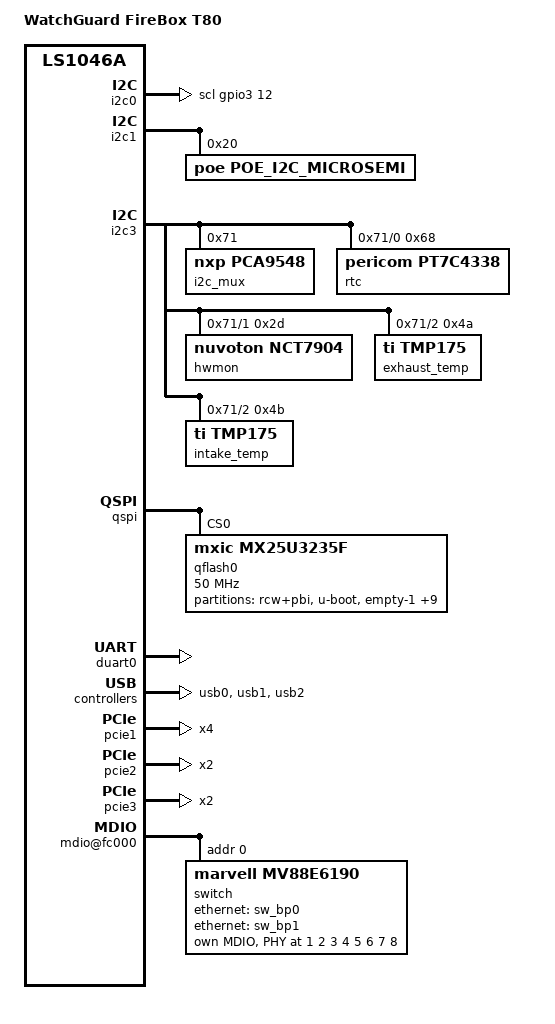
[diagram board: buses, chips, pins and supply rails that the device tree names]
// SPDX-License-Identifier: (GPL-2.0+ OR MIT)

/dts-v1/;

#include "fsl-ls1046a.dtsi"

/ {
	model = "WatchGuard FireBox T80";
	compatible = "watchguard,firebox-t80", "fsl,ls1046a-rdb", "fsl,ls1046a";

	aliases {
		serial0 = &duart0;
		serial1 = &duart1;
		serial2 = &duart2;
		serial3 = &duart3;
	};

	chosen {
		stdout-path = "serial0:115200n8";
	};
};

&i2c0 {
  status = "okay";
  scl-gpios = <&gpio3 12 0>;

  //tpm@29 {
  //  compatible = "atmel,tpm_i2c_atmel";
  //  reg = <0x29>;
  //};
};

&i2c1 {
  status = "okay";

  // PD69104B1 PoE Controller
  poe@20 {
    compatible = "poe,poe_i2c_microsemi";
    reg = <0x20>;
  };
};

&i2c3 {
  status = "okay";

  i2c_mux@71 {
    compatible = "nxp,pca9548";
    reg = <0x71>;
    #address-cells = <1>;
    #size-cells = <0>;

    i2c@0 {
      #address-cells = <1>;
      #size-cells = <0>;
      reg = <0>;

      rtc@68 {
        compatible = "pericom,pt7c4338", "dallas,ds1307";
        reg = <0x68>;
      };
    };

    i2c@1 {
      #address-cells = <1>;
      #size-cells = <0>;
      reg = <1>;

      hwmon@2d {
        compatible = "nuvoton,nct7904";
        reg = <0x2d>;
      };
    };

		i2c@2 {
			#address-cells = <1>;
			#size-cells = <0>;
			reg = <2>;

			// near RTC IC 
			exhaust_temp@4a {
				compatible = "ti,tmp175";
				reg = <0x4a>;
				sensor-name = "exhaust_temperature";
			};

			// near SSD
			intake_temp@4b {
				compatible = "ti,tmp175";
				reg = <0x4b>;
				sensor-name = "intake_temperature";
			};			
		};
  };
};

&qspi {
	status = "okay";
	bus-num = <0>;
	big-endian;

	qflash0: flash@0 {
		compatible = "mxic,mx25u3235f", "jedec,spi-nor";
		#address-cells = <1>;
		#size-cells = <1>;
		spi-max-frequency = <50000000>;
		spi-rx-bus-width = <4>;
		spi-tx-bus-width = <4>;
		reg = <0>;

		partitions {
			compatible = "fixed-partitions";
			#address-cells = <1>;
			#size-cells = <1>;

			partition@0 {
				reg = <0x00 0x100000>;
				label = "rcw+pbi";
				read-only;
			};

			partition@100000 {
				reg = <0x100000 0x100000>;
				label = "u-boot";
				read-only;
			};

			partition@200000 {
				reg = <0x200000 0x10000>;
				label = "empty-1";
			};

			partition@210000 {
				reg = <0x210000 0x10000>;
				label = "u-boot-env";
				read-only;
			};

			partition@220000 {
				reg = <0x220000 0x20000>;
				label = "fman ucode";
				read-only;
			};

			partition@240000 {
				reg = <0x240000 0x40000>;
				label = "empty-2-ppa";
				read-only;
			};

			partition@280000 {
				reg = <0x280000 0x20000>;
				label = "wg-cfg0";
				read-only;
			};

			partition@2a0000 {
				reg = <0x2a0000 0x20000>;
				label = "wg-cfg1";
				read-only;
			};

			partition@2c0000 {
				reg = <0x2c0000 0x20000>;
				label = "wg-mfg";
				read-only;
			};

			partition@2e0000 {
				reg = <0x2e0000 0x20000>;
				label = "empty-3";
				read-only;
			};

			partition@300000 {
				reg = <0x300000 0x20000>;
				label = "fman-ucode-old";
				read-only;
			};

			partition@320000 {
				reg = <0x320000 0xe0000>;
				label = "wg-bootopt";
				read-only;
			};
		};
	};
};

&duart0 {
	status = "okay";
};

&usb0 {
  status = "okay";
  snps,dis-u1u2-when-u3-quirk;
};

&usb1 {
  status = "okay";
  snps,dis-u1u2-when-u3-quirk;
};

&usb2 {
  status = "okay";
  snps,dis-u1u2-when-u3-quirk;
};

&pcie1 {
	status = "okay";
	num-lanes = <4>;
};

&pcie2 {
	status = "okay";
	num-lanes = <2>;
};

&pcie3 {
	status = "okay";
	num-lanes = <2>;
};

#include "fsl-ls1046-post.dtsi"

&pcsphy6 {
	compatible = "ethernet-phy-ieee802.3-c45";
	backplane-mode = "10gbase-kr";
};

&pcsphy7 {
	compatible = "ethernet-phy-ieee802.3-c45";
	backplane-mode = "10gbase-kr";
};

&fman0 {
	// backplane port 0, via pcsphy6
	sw_bp0: ethernet@f0000 {
		phy-connection-type = "sgmii-2500";
		phy-mode = "sgmii";

		fixed-link {
			speed = <2500>;
			full-duplex;
		};
	};

	// backplane port 1, via pcsphy7
	sw_bp1: ethernet@f2000 {
		phy-connection-type = "sgmii-2500";
		phy-mode = "sgmii";

		fixed-link {
			speed = <2500>;
			full-duplex;
		};
	};

	mdio@fc000 {
		switch@0 {
			compatible = "marvell,mv88e6190";
			reg = <0>;
			dsa,member = <0 0>;

			mdio {
				#address-cells = <1>;
				#size-cells = <0>;

				// ethernet-phy@0 is not used

				sw_phy1: ethernet-phy1@1{
					reg = <1>;
				};

				sw_phy2: ethernet-phy2@2{
					reg = <2>;
				};

				sw_phy3: ethernet-phy3@3{
					reg = <3>;
				};

				sw_phy4: ethernet-phy4@4{
					reg = <4>;
				};

				sw_phy5: ethernet-phy5@5{
					reg = <5>;
				};

				sw_phy6: ethernet-phy6@6{
					reg = <6>;
				};

				sw_phy7: ethernet-phy7@7{
					reg = <7>;
				};

				sw_phy8: ethernet-phy8@8{
					reg = <8>;
				};
			};

			ethernet-ports {
				#address-cells = <1>;
				#size-cells = <0>;

				// ethernet-port@0 is not used

				ethernet-port@1 {
					reg = <1>;
					label = "wan0";
					phy-handle = <&sw_phy1>;
					phy-mode = "internal";
				};

				ethernet-port@2 {
					reg = <2>;
					label = "lan1";
					phy-handle = <&sw_phy2>;
					phy-mode = "internal";
				};

				ethernet-port@3 {
					reg = <3>;
					label = "lan2";
					phy-handle = <&sw_phy3>;
					phy-mode = "internal";
				};

				ethernet-port@4 {
					reg = <4>;
					label = "lan3";
					phy-handle = <&sw_phy4>;
					phy-mode = "internal";
				};

				ethernet-port@5 {
					reg = <5>;
					label = "lan4";
					phy-handle = <&sw_phy5>;
					phy-mode = "internal";
				};

				ethernet-port@6 {
					reg = <6>;
					label = "lan5";
					phy-handle = <&sw_phy6>;
					phy-mode = "internal";
				};

				ethernet-port@7 {
					reg = <7>;
					label = "lan6";
					phy-handle = <&sw_phy7>;
					phy-mode = "internal";
				};

				ethernet-port@8 {
					reg = <8>;
					label = "lan7";
					phy-handle = <&sw_phy8>;
					phy-mode = "internal";
				};

				ethernet-port@9 {
					reg = <9>;
					label = "cpu0";
					ethernet = <&sw_bp0>;
					phy-mode = "2500base-x";

					fixed-link {
						speed = <2500>;
						full-duplex;
					};
				};

				ethernet-port@10 {
					reg = <10>;
					label = "cpu1";
					ethernet = <&sw_bp1>;
					phy-mode = "2500base-x";

					fixed-link {
						speed = <2500>;
						full-duplex;
					};
				};
			};
		};
	};
};

// WG T80 does not support secure boot, so remove OP-TEE
// not doing this will cause kernel panic at boot
/delete-node/ &{/firmware/optee};

// for some reason, usb enumeration stops working if 
// soc is marked dma-coherent
&soc {
    /delete-property/ dma-coherent;
};
